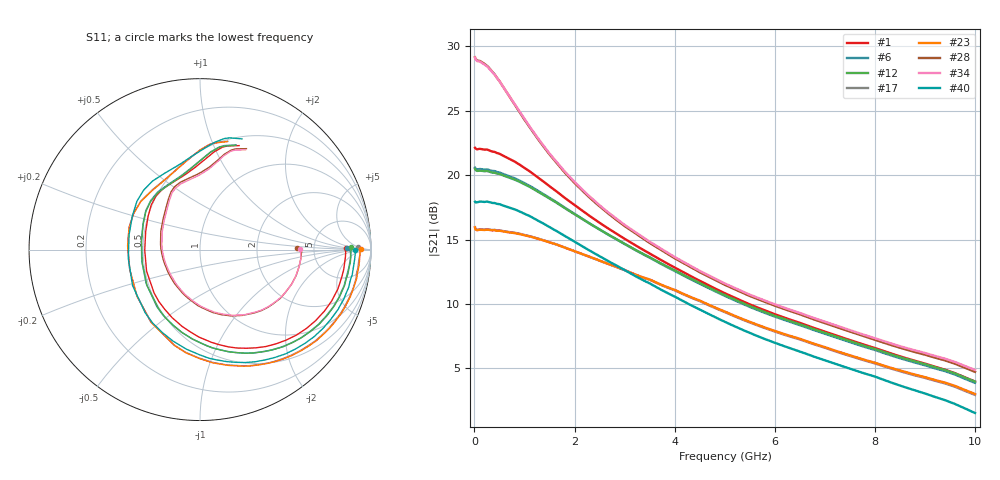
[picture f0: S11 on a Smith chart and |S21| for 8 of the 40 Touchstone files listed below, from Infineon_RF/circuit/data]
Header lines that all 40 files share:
! Infineon Technologies  Discrete & RF Semiconductors
! BFP405
! Common Emitter S-Parameters:  Jan 2016
# GHz  S  MA  R  50
!  f  S11  S21  S12  S22
! GHz  MAG  ANG  MAG  ANG  MAG  ANG  MAG  ANG
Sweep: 10 MHz to 10 GHz
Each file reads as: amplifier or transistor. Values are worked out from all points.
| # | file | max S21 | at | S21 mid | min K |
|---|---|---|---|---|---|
| 1 | BFP405_VCE_2.0V_IC_4.5mA.s2p | 22.1 dB | 10 MHz | 18.4 dB at 1.74 GHz | 0.04 |
| 2 | BFP405_VCE_2.0V_IC_15mA.s2p | 28.2 dB | 10 MHz | 20.2 dB at 1.74 GHz | 0.19 |
| 3 | BFP405_VCE_2.0V_IC_18mA.s2p | 28.7 dB | 10 MHz | 19.9 dB at 1.74 GHz | 0.24 |
| 4 | BFP405_VCE_2.0V_IC_20mA.s2p | 28.9 dB | 20 MHz | 19.6 dB at 1.74 GHz | 0.27 |
| 5 | BFP405_VCE_2.5V_IC_1.8mA.s2p | 15.8 dB | 10 MHz | 14.3 dB at 1.74 GHz | 0.03 |
| 6 | BFP405_VCE_2.5V_IC_3.5mA.s2p | 20.6 dB | 10 MHz | 17.6 dB at 1.74 GHz | 0.05 |
| 7 | BFP405_VCE_2.5V_IC_4.5mA.s2p | 22.2 dB | 10 MHz | 18.5 dB at 1.74 GHz | 0.07 |
| 8 | BFP405_VCE_2.5V_IC_15mA.s2p | 28.3 dB | 10 MHz | 20.3 dB at 1.74 GHz | 0.19 |
| 9 | BFP405_VCE_2.5V_IC_18mA.s2p | 28.8 dB | 10 MHz | 20.2 dB at 1.74 GHz | 0.22 |
| 10 | BFP405_VCE_2.5V_IC_20mA.s2p | 29.0 dB | 10 MHz | 20.0 dB at 1.74 GHz | 0.24 |
| 11 | BFP405_VCE_3.0V_IC_1.8mA.s2p | 15.8 dB | 10 MHz | 14.3 dB at 1.74 GHz | 0.02 |
| 12 | BFP405_VCE_3.0V_IC_3.5mA.s2p | 20.5 dB | 10 MHz | 17.6 dB at 1.74 GHz | 0.06 |
| 13 | BFP405_VCE_3.0V_IC_4.5mA.s2p | 22.2 dB | 10 MHz | 18.5 dB at 1.74 GHz | 0.09 |
| 14 | BFP405_VCE_3.0V_IC_15mA.s2p | 28.3 dB | 10 MHz | 20.5 dB at 1.74 GHz | 0.19 |
| 15 | BFP405_VCE_3.0V_IC_18mA.s2p | 28.9 dB | 10 MHz | 20.4 dB at 1.74 GHz | 0.21 |
| 16 | BFP405_VCE_3.0V_IC_20mA.s2p | 29.1 dB | 10 MHz | 20.2 dB at 1.74 GHz | 0.24 |
| 17 | BFP405_VCE_3.5V_IC_1.8mA.s2p | 16.0 dB | 10 MHz | 14.5 dB at 1.74 GHz | -0.03 |
| 18 | BFP405_VCE_3.5V_IC_3.5mA.s2p | 20.5 dB | 10 MHz | 17.6 dB at 1.74 GHz | 0.09 |
| 19 | BFP405_VCE_3.5V_IC_4.5mA.s2p | 22.2 dB | 10 MHz | 18.6 dB at 1.74 GHz | 0.11 |
| 20 | BFP405_VCE_3.5V_IC_15mA.s2p | 28.3 dB | 10 MHz | 20.5 dB at 1.74 GHz | 0.21 |
| 21 | BFP405_VCE_3.5V_IC_18mA.s2p | 28.9 dB | 10 MHz | 20.5 dB at 1.74 GHz | 0.23 |
| 22 | BFP405_VCE_3.5V_IC_20mA.s2p | 29.1 dB | 10 MHz | 20.4 dB at 1.74 GHz | 0.24 |
| 23 | BFP405_VCE_4.0V_IC_1.8mA.s2p | 15.9 dB | 10 MHz | 14.5 dB at 1.74 GHz | 0.07 |
| 24 | BFP405_VCE_4.0V_IC_3.5mA.s2p | 20.5 dB | 10 MHz | 17.6 dB at 1.74 GHz | 0.12 |
| 25 | BFP405_VCE_4.0V_IC_4.5mA.s2p | 22.2 dB | 10 MHz | 18.6 dB at 1.74 GHz | 0.15 |
| 26 | BFP405_VCE_4.0V_IC_15mA.s2p | 28.4 dB | 10 MHz | 20.6 dB at 1.74 GHz | 0.25 |
| 27 | BFP405_VCE_4.0V_IC_18mA.s2p | 28.9 dB | 10 MHz | 20.6 dB at 1.74 GHz | 0.27 |
| 28 | BFP405_VCE_4.0V_IC_20mA.s2p | 29.2 dB | 10 MHz | 20.5 dB at 1.74 GHz | 0.28 |
| 29 | BFP405_VCE_4.5V_IC_1.8mA.s2p | 16.0 dB | 10 MHz | 14.5 dB at 1.74 GHz | 0.10 |
| 30 | BFP405_VCE_4.5V_IC_3.5mA.s2p | 20.6 dB | 10 MHz | 17.7 dB at 1.74 GHz | 0.17 |
| 31 | BFP405_VCE_4.5V_IC_4.5mA.s2p | 22.2 dB | 10 MHz | 18.6 dB at 1.74 GHz | 0.21 |
| 32 | BFP405_VCE_4.5V_IC_15mA.s2p | 28.3 dB | 10 MHz | 20.7 dB at 1.74 GHz | 0.32 |
| 33 | BFP405_VCE_4.5V_IC_18mA.s2p | 28.9 dB | 10 MHz | 20.6 dB at 1.74 GHz | 0.34 |
| 34 | BFP405_VCE_4.5V_IC_20mA.s2p | 29.1 dB | 10 MHz | 20.6 dB at 1.74 GHz | 0.35 |
| 35 | BFP405_w_noise_VCE_0.5V_IC_0.5mA.s2p | 6.0 dB | 260 MHz | 5.6 dB at 1.74 GHz | 0.01 |
| 36 | BFP405_w_noise_VCE_0.5V_IC_1.0mA.s2p | 11.3 dB | 260 MHz | 10.3 dB at 1.74 GHz | 0.01 |
| 37 | BFP405_w_noise_VCE_0.5V_IC_1.2mA.s2p | 12.6 dB | 260 MHz | 11.5 dB at 1.74 GHz | 0.01 |
| 38 | BFP405_w_noise_VCE_0.5V_IC_1.5mA.s2p | 14.5 dB | 10 MHz | 12.9 dB at 1.74 GHz | 0.03 |
| 39 | BFP405_w_noise_VCE_0.5V_IC_2.0mA.s2p | 16.6 dB | 10 MHz | 14.5 dB at 1.74 GHz | 0.04 |
| 40 | BFP405_w_noise_VCE_0.5V_IC_2.5mA.s2p | 18.0 dB | 100 MHz | 15.4 dB at 1.74 GHz | 0.05 |

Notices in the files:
TP2/Simulaciones/Example_wrk/Infineon_RF/circuit/data/BFP405_VCE_2.0V_IC_15mA.s2p:
(c) 2016  Infineon Technologies AG, Munich
